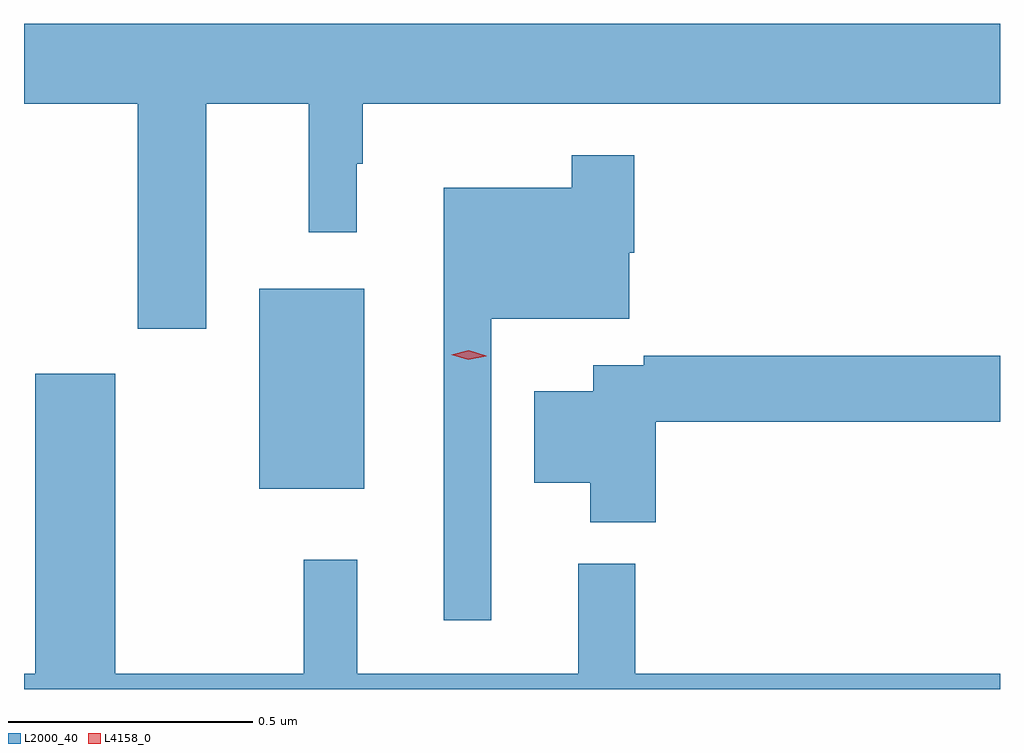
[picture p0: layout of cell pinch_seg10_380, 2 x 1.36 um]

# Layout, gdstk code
import gdstk
lib = gdstk.Library(unit=1e-6, precision=1e-09)
def R(c, l, rs):  # rectangles x0, y0, x1, y1
    for r in rs: c.add(gdstk.rectangle(r[:2], r[2:], *l))
def P(c, l, *ps):  # polygons
    for p in ps: c.add(gdstk.Polygon(p, *l))
L2000_40 = (2000, 40)
L4158_0 = (4158, 0)

pinch_seg10_380 = lib.new_cell('pinch_seg10_380')
R(pinch_seg10_380, L2000_40, [(443.966,1248.911,444.181,1249.321)])
P(pinch_seg10_380, L2000_40, [(443.857,1249.7),(444.068,1249.7),(444.068,1249.437),(444.166,1249.437),(444.166,1249.577),(444.178,1249.577),(444.178,1249.7),(445.484,1249.7),(445.484,1249.864),(443.484,1249.864),(443.484,1249.7),(443.717,1249.7),(443.717,1249.239),(443.857,1249.239)],
  [(444.441,1249.259),(444.724,1249.259),(444.724,1249.395),(444.734,1249.395),(444.734,1249.594),(444.606,1249.594),(444.606,1249.528),(444.344,1249.528),(444.344,1248.642),(444.441,1248.642)],
  [(444.779,1249.048),(445.484,1249.048),(445.484,1249.184),(444.754,1249.184),(444.754,1249.164),(444.65,1249.164),(444.65,1249.111),(444.53,1249.111),(444.53,1248.923),(444.644,1248.923),(444.644,1248.842),(444.779,1248.842)],
  [(445.484,1248.532),(444.737,1248.532),(444.737,1248.757),(444.62,1248.757),(444.62,1248.532),(444.167,1248.532),(444.167,1248.766),(444.057,1248.766),(444.057,1248.532),(443.671,1248.532),(443.671,1249.147),(443.507,1249.147),(443.507,1248.532),(443.484,1248.532),(443.484,1248.5),(445.484,1248.5)])
P(pinch_seg10_380, L4158_0, [(444.394,1249.175),(444.359,1249.186),(444.359,1249.186),(444.359,1249.186),(444.395,1249.195),(444.431,1249.184),(444.431,1249.184),(444.431,1249.183)])

lib.write_gds('pinch_seg10_380.gds')
